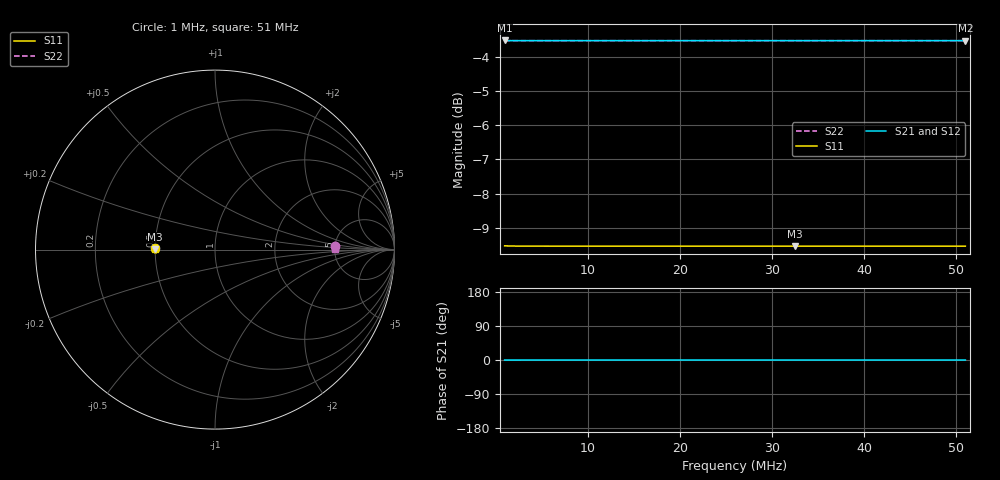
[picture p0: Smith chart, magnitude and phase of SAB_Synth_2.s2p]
# MHz S RI R 50
! S-Parameters data
! Freq  reS11  imS11  reS21  imS21  reS12  imS12  reS22  imS22
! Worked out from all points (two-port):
!   201 points, 1 MHz to 51 MHz, reference 50 ohm
!   highest |S21| = -3.52 dB at 1 MHz (marker M1); lowest = -3.5 dB at 51 MHz (marker M2)
!   |S21| within 3 dB of the highest: start of sweep to end of sweep
!   lowest |S11| = -9.5 dB at 32.5 MHz (marker M3), VSWR 2.00, Z = 25 + j0.0561 ohm
!   |S11| at or under -10 dB: nowhere
!   |S22| runs from -3.5 to -3.5 dB; largest |S21 - S12| = 1e-10
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1  -0.3336 0.00885  0.6671 -0.00441  0.6671 -0.00441  0.6659 0.0221
1.25  -0.3335 0.00709  0.6669 -0.00354  0.6669 -0.00354  0.6662 0.0177
1.5  -0.3335 0.00592  0.6668 -0.00296  0.6668 -0.00296  0.6663 0.0147
1.75  -0.3334 0.00509  0.6668 -0.00254  0.6668 -0.00254  0.6664 0.0126
2  -0.3334 0.00446  0.6668 -0.00223  0.6668 -0.00223  0.6665 0.0111
2.25  -0.3334 0.00398  0.6667 -0.00199  0.6667 -0.00199  0.6665 0.00983
2.5  -0.3334 0.00359  0.6667 -0.00179  0.6667 -0.00179  0.6665 0.00885
3  -0.3334 0.00301  0.6667 -0.00151  0.6667 -0.00151  0.6666 0.00738
3.5  -0.3334 0.0026  0.6667 -0.0013  0.6667 -0.0013  0.6666 0.00633
4  -0.3334 0.0023  0.6667 -0.00115  0.6667 -0.00115  0.6666 0.00555
4.5  -0.3333 0.00207  0.6667 -0.00103  0.6667 -0.00103  0.6666 0.00494
5.25  -0.3333 0.0018  0.6667 -0.000901  0.6667 -0.000901  0.6666 0.00424
6  -0.3333 0.00161  0.6667 -0.000804  0.6667 -0.000804  0.6666 0.00372
7  -0.3333 0.00142  0.6667 -0.00071  0.6667 -0.00071  0.6667 0.0032
9.5  -0.3333 0.00114  0.6667 -0.000571  0.6667 -0.000571  0.6667 0.00238
13  -0.3333 0.000971  0.6667 -0.000485  0.6667 -0.000485  0.6667 0.00177
17.75  -0.3333 0.000895  0.6667 -0.000447  0.6667 -0.000447  0.6667 0.00134
26  -0.3333 0.000921  0.6667 -0.00046  0.6667 -0.00046  0.6667 0.000995
32.5  -0.3333 0.000998  0.6667 -0.000499  0.6667 -0.000499  0.6667 0.000862
34.5  -0.3333 0.00103  0.6667 -0.000514  0.6667 -0.000514  0.6667 0.000833
42.75  -0.3333 0.00116  0.6667 -0.000581  0.6667 -0.000581  0.6667 0.000756
51  -0.3333 0.00131  0.6667 -0.000656  0.6667 -0.000656  0.6667 0.000718
